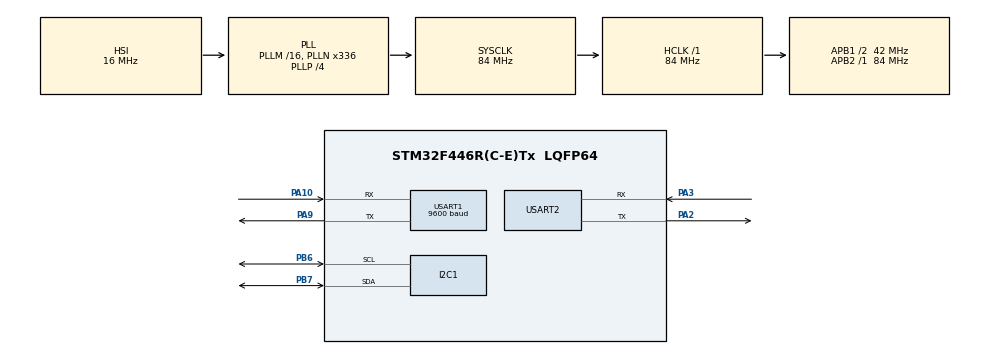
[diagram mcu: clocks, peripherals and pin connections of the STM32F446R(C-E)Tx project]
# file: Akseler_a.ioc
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Dma.I2C1_RX.0.Direction=DMA_PERIPH_TO_MEMORY
Dma.I2C1_RX.0.FIFOMode=DMA_FIFOMODE_ENABLE
Dma.I2C1_RX.0.FIFOThreshold=DMA_FIFO_THRESHOLD_FULL
Dma.I2C1_RX.0.Instance=DMA1_Stream0
Dma.I2C1_RX.0.MemBurst=DMA_MBURST_SINGLE
Dma.I2C1_RX.0.MemDataAlignment=DMA_MDATAALIGN_BYTE
Dma.I2C1_RX.0.MemInc=DMA_MINC_ENABLE
Dma.I2C1_RX.0.Mode=DMA_CIRCULAR
Dma.I2C1_RX.0.PeriphBurst=DMA_PBURST_SINGLE
Dma.I2C1_RX.0.PeriphDataAlignment=DMA_PDATAALIGN_BYTE
Dma.I2C1_RX.0.PeriphInc=DMA_PINC_DISABLE
Dma.I2C1_RX.0.Priority=DMA_PRIORITY_MEDIUM
Dma.Request0=I2C1_RX
Dma.Request1=USART1_RX
Dma.USART1_RX.1.Direction=DMA_PERIPH_TO_MEMORY
Dma.USART1_RX.1.FIFOMode=DMA_FIFOMODE_DISABLE
Dma.USART1_RX.1.Instance=DMA2_Stream2
Dma.USART1_RX.1.MemDataAlignment=DMA_MDATAALIGN_BYTE
Dma.USART1_RX.1.MemInc=DMA_MINC_ENABLE
Dma.USART1_RX.1.Mode=DMA_CIRCULAR
Dma.USART1_RX.1.PeriphDataAlignment=DMA_PDATAALIGN_BYTE
Dma.USART1_RX.1.PeriphInc=DMA_PINC_DISABLE
Dma.USART1_RX.1.Priority=DMA_PRIORITY_LOW
Mcu.Family=STM32F4
Mcu.Name=STM32F446R(C-E)Tx
Mcu.Package=LQFP64
NVIC.DMA1_Stream0_IRQn=true\:0\:0\:false\:false\:true\:false\:true\:true
NVIC.DMA2_Stream2_IRQn=true\:0\:0\:false\:false\:true\:false\:true\:true
NVIC.PriorityGroup=NVIC_PRIORITYGROUP_0
NVIC.USART1_IRQn=true\:0\:0\:false\:false\:true\:true\:true\:true
PA10.Mode=Asynchronous
PA10.Signal=USART1_RX
PA2.Mode=Asynchronous
PA2.Signal=USART2_TX
PA3.Mode=Asynchronous
PA3.Signal=USART2_RX
PA9.Mode=Asynchronous
PA9.Signal=USART1_TX
PB6.Mode=I2C
PB6.Signal=I2C1_SCL
PB7.Mode=I2C
PB7.Signal=I2C1_SDA
PC14-OSC32_IN.Mode=LSE-External-Oscillator
PC14-OSC32_IN.Signal=RCC_OSC32_IN
PC15-OSC32_OUT.Mode=LSE-External-Oscillator
PC15-OSC32_OUT.Signal=RCC_OSC32_OUT
PH0-OSC_IN.Mode=HSE-External-Oscillator
PH0-OSC_IN.Signal=RCC_OSC_IN
PH1-OSC_OUT.Mode=HSE-External-Oscillator
PH1-OSC_OUT.Signal=RCC_OSC_OUT
ProjectManager.HeapSize=0x200
ProjectManager.StackSize=0x400
ProjectManager.TargetToolchain=CMake
RCC.AHBFreq_Value=84000000
RCC.APB1CLKDivider=RCC_HCLK_DIV2
RCC.APB1Freq_Value=42000000
RCC.APB1TimFreq_Value=84000000
RCC.APB2Freq_Value=84000000
RCC.APB2TimFreq_Value=84000000
RCC.CortexFreq_Value=84000000
RCC.FLatency-AdvancedSettings=FLASH_LATENCY_2
RCC.HCLKFreq_Value=84000000
RCC.HSE_VALUE=8000000
RCC.HSI_VALUE=16000000
RCC.PLLN=336
RCC.PLLP=RCC_PLLP_DIV4
RCC.SYSCLKFreq_VALUE=84000000
RCC.SYSCLKSource=RCC_SYSCLKSOURCE_PLLCLK
RCC.USBFreq_Value=168000000
RCC.VCOOutputFreq_Value=336000000
USART1.BaudRate=9600
USART1.VirtualMode=VM_ASYNC
USART2.VirtualMode=VM_ASYNC
board=NUCLEO-F446RE

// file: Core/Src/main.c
/* USER CODE BEGIN Header */
/**
  ******************************************************************************
  * @file           : main.c
  * @brief          : Main program body - 6D Orientation Example for Nucleo-446RE
  ******************************************************************************
  * @attention
  *
  * Copyright (c) 2025 STMicroelectronics.
  * All rights reserved.
  * This software is licensed under the terms found in the LICENSE file
  * in the root directory of this software component.
  * If no LICENSE file comes with this software, it is provided AS-IS.
  *
  ******************************************************************************
  */
/* USER CODE END Header */
#include "main.h"

/* USER CODE BEGIN Includes */
#include "accel.h"
#include "gps.h"
#include "geo.h"
#include "kalman.h"
#include "attitude.h"
#include <stdio.h>
/* USER CODE END Includes */

I2C_HandleTypeDef hi2c1;
DMA_HandleTypeDef hdma_i2c1_rx;

UART_HandleTypeDef huart1;
UART_HandleTypeDef huart2;
DMA_HandleTypeDef hdma_usart1_rx;

/* USER CODE BEGIN PV */
UART_TxQueueTypeDef uart2_tx_queue = { .head = 0, .tail = 0, .is_transmitting = 0 };

/* останній відомий стан GPS для CSV: між fix-ами значення повторюються */
static uint8_t geo_origin_set = 0;
static uint8_t gps_fix = 0;
static float geo_east = 0.0f, geo_north = 0.0f, gps_spd = 0.0f;

/* Кальман: стартує разом з origin (перший fix = точка (0,0) ENU) */
static KalmanFilter kf;
static uint8_t kf_started = 0;
static uint32_t kf_last_fix_tick = 0;
static uint8_t kf_gate = 1; /* результат останнього KF_UpdateGated (1=accepted) */

/* Орієнтація: живе з першого IMU-семпла, dt спільний з KF_Predict */
static AttitudeFilter att;
static uint32_t imu_last_tick = 0;
/* USER CODE END PV */

void SystemClock_Config(void);
static void MX_GPIO_Init(void);
static void MX_DMA_Init(void);
static void MX_USART2_UART_Init(void);
static void MX_I2C1_Init(void);
static void MX_USART1_UART_Init(void);

/* USER CODE BEGIN 0 */
void UART_TxQueue_Init(UART_TxQueueTypeDef *queue) {
    queue->head = 0;
    queue->tail = 0;
    queue->is_transmitting = 0;
}

uint8_t UART_TxQueue_IsFull(UART_TxQueueTypeDef *queue) {
    return ((queue->head + 1) % UART_TX_QUEUE_SIZE) == queue->tail;
}

uint8_t UART_TxQueue_IsEmpty(UART_TxQueueTypeDef *queue) {
    return queue->head == queue->tail;
}

void UART_TxQueue_Enqueue(UART_TxQueueTypeDef *queue, const char *data) {
    if (!UART_TxQueue_IsFull(queue)) {
        strncpy(queue->buffer[queue->head], data, UART_TX_BUFFER_SIZE - 1);
        queue->buffer[queue->head][UART_TX_BUFFER_SIZE - 1] = '\0';
        queue->head = (queue->head + 1) % UART_TX_QUEUE_SIZE;
    }
}

void UART_TxQueue_TransmitNext(UART_HandleTypeDef *huart, UART_TxQueueTypeDef *queue) {
    if (!queue->is_transmitting && !UART_TxQueue_IsEmpty(queue)) {
        queue->is_transmitting = 1;
        HAL_UART_Transmit_IT(huart, (uint8_t*)queue->buffer[queue->tail], strlen(queue->buffer[queue->tail]));
    }
}

void Safe_UART_Transmit(UART_HandleTypeDef *huart, uint8_t *data, uint16_t size) {
    char temp[UART_TX_BUFFER_SIZE];
    strncpy(temp, (char*)data, size);
    temp[size] = '\0';
    UART_TxQueue_Enqueue(&uart2_tx_queue, temp);
    UART_TxQueue_TransmitNext(huart, &uart2_tx_queue);
}

/*
 * Розлипання I2C1-шини (PB6=SCL, PB7=SDA) перед HAL_I2C_Init:
 * якщо slave тримає SDA низько, даємо до 9 імпульсів SCL у GPIO-режимі,
 * щоб він дочитав перерваний байт і відпустив шину, потім формуємо STOP.
 * Викликати ДО HAL_I2C_Init: MspInit потім сам поверне піни в режим AF I2C.
 */
static void I2C1_BusRecover(void) {
    GPIO_InitTypeDef gpio = {0};
    const char *result;

    __HAL_RCC_GPIOB_CLK_ENABLE();

    /* SDA (PB7) — вхід: перевіряємо, чи шина взагалі залипла */
    gpio.Pin = GPIO_PIN_7;
    gpio.Mode = GPIO_MODE_INPUT;
    gpio.Pull = GPIO_PULLUP;
    HAL_GPIO_Init(GPIOB, &gpio);

    if (HAL_GPIO_ReadPin(GPIOB, GPIO_PIN_7) == GPIO_PIN_SET) {
        result = "I2C bus free\r\n";
    } else {
        /* SCL (PB6) — open-drain вихід, тактуємо вручну */
        gpio.Pin = GPIO_PIN_6;
        gpio.Mode = GPIO_MODE_OUTPUT_OD;
        gpio.Pull = GPIO_PULLUP;
        gpio.Speed = GPIO_SPEED_FREQ_LOW;
        HAL_GPIO_Init(GPIOB, &gpio);
        HAL_GPIO_WritePin(GPIOB, GPIO_PIN_6, GPIO_PIN_SET);
        HAL_Delay(1);

        for (int i = 0; i < 9 && HAL_GPIO_ReadPin(GPIOB, GPIO_PIN_7) == GPIO_PIN_RESET; i++) {
            HAL_GPIO_WritePin(GPIOB, GPIO_PIN_6, GPIO_PIN_RESET);
            HAL_Delay(1);
            HAL_GPIO_WritePin(GPIOB, GPIO_PIN_6, GPIO_PIN_SET);
            HAL_Delay(1);
        }

        /* STOP condition: SDA тягнемо вниз і відпускаємо при високому SCL */
        gpio.Pin = GPIO_PIN_7;
        gpio.Mode = GPIO_MODE_OUTPUT_OD;
        HAL_GPIO_Init(GPIOB, &gpio);
        HAL_GPIO_WritePin(GPIOB, GPIO_PIN_7, GPIO_PIN_RESET);
        HAL_Delay(1);
        HAL_GPIO_WritePin(GPIOB, GPIO_PIN_7, GPIO_PIN_SET);
        HAL_Delay(1);

        /* SDA знову вхід — перевіряємо результат */
        gpio.Pin = GPIO_PIN_7;
        gpio.Mode = GPIO_MODE_INPUT;
        HAL_GPIO_Init(GPIOB, &gpio);
        result = (HAL_GPIO_ReadPin(GPIOB, GPIO_PIN_7) == GPIO_PIN_SET)
                     ? "I2C bus recovered\r\n"
                     : "I2C bus stuck\r\n";
    }

    HAL_GPIO_DeInit(GPIOB, GPIO_PIN_6 | GPIO_PIN_7);
    HAL_UART_Transmit(&huart2, (uint8_t*)result, (uint16_t)strlen(result), 100);
}
/* USER CODE END 0 */

int main(void)
{

  /* MCU Configuration--------------------------------------------------------*/

  /* Reset of all peripherals, Initializes the Flash interface and the Systick. */
  HAL_Init();

  /* Configure the system clock */
  SystemClock_Config();

  /* Initialize all configured peripherals */
  MX_GPIO_Init();
  MX_DMA_Init();
  MX_USART2_UART_Init();
  MX_I2C1_Init();
  MX_USART1_UART_Init();
  /* USER CODE BEGIN 2 */
  ACCEL_Init(&hi2c1);
  GPS_Init(&huart1);

  /* даємо IT-черзі дослати стартові повідомлення, інакше блокуючий
     вивід заголовка отримає HAL_BUSY і рядок загубиться */
  uint32_t hdr_t0 = HAL_GetTick();
  while (!UART_TxQueue_IsEmpty(&uart2_tx_queue) && (HAL_GetTick() - hdr_t0) < 500) {}
  const char csv_hdr[] = "t_ms,ax,ay,az,gx,gy,gz,fix,east,north,spd,kf_east,kf_north,kf_vE,kf_vN,gate,roll,pitch,yaw\r\n";
  HAL_UART_Transmit(&huart2, (uint8_t*)csv_hdr, sizeof(csv_hdr) - 1, 100);
  ATT_Init(&att);
  imu_last_tick = HAL_GetTick();
  /* USER CODE END 2 */

  /* Infinite loop */
  /* USER CODE BEGIN WHILE */
  while (1)
  {
    if (ACCEL_Read()) {
      /* Орієнтація оновлюється кожним IMU-семплом; той самий dt іде в predict,
         який тепер отримує реальні горизонтальні прискорення замість нулів */
      uint32_t now = HAL_GetTick();
      float dt = (float)(now - imu_last_tick) / 1000.0f;
      imu_last_tick = now;
      if (dt > 0.0f && dt < 0.5f) {
        ATT_Update(&att, accel_x, accel_y, accel_z, gyro_x, gyro_y, gyro_z, dt);
        if (kf_started) {
          float aE, aN;
          ATT_BodyToENU(&att, accel_x, accel_y, accel_z, &aE, &aN);
          KF_Predict(&kf, dt, aE, aN);
        }
      }

      GPS_RMCData rmc;
      if (GPS_GetRMC(&rmc)) {
        gps_fix = rmc.valid ? 1 : 0;
        if (rmc.valid) {
          if (!geo_origin_set) {
            GEO_SetOrigin(rmc.lat, rmc.lon);
            geo_origin_set = 1;
            KF_Init(&kf, 0.3f, 1.5f); /* origin = (0,0) ENU = старт фільтра */
            kf_started = 1;
            kf_last_fix_tick = HAL_GetTick();
            char msg[64];
            int mlen = snprintf(msg, sizeof(msg), "ORIGIN SET lat=%.5f lon=%.5f\r\n", rmc.lat, rmc.lon);
            HAL_UART_Transmit(&huart2, (uint8_t*)msg, (uint16_t)mlen, 100);
          }
          GEO_ToENU(rmc.lat, rmc.lon, &geo_east, &geo_north);
          gps_spd = rmc.speed_mps;
          uint32_t fix_now = HAL_GetTick();
          float dt_fix = (float)(fix_now - kf_last_fix_tick) / 1000.0f;
          kf_last_fix_tick = fix_now;
          kf_gate = (uint8_t)KF_UpdateGated(&kf, geo_east, geo_north, dt_fix, rmc.speed_mps);
          ATT_CorrectYawFromCourse(&att, rmc.course_deg, rmc.speed_mps);
        }
      }

      char csv[160];
      int len = snprintf(csv, sizeof(csv), "%lu,%.3f,%.3f,%.3f,%.4f,%.4f,%.4f,%u,%.2f,%.2f,%.2f",
                         HAL_GetTick(), accel_x, accel_y, accel_z, gyro_x, gyro_y, gyro_z,
                         gps_fix, geo_east, geo_north, gps_spd);
      if (kf_started) {
        float pE, pN, vE, vN;
        KF_GetPosition(&kf, &pE, &pN);
        KF_GetVelocity(&kf, &vE, &vN);
        len += snprintf(csv + len, sizeof(csv) - (size_t)len, ",%.3f,%.3f,%.3f,%.3f,%u",
                        pE, pN, vE, vN, kf_gate);
      } else {
        len += snprintf(csv + len, sizeof(csv) - (size_t)len, ",,,,,"); /* фільтр ще не стартував */
      }
      len += snprintf(csv + len, sizeof(csv) - (size_t)len, ",%.2f,%.2f,%.2f\r\n",
                      att.roll * 57.29578f, att.pitch * 57.29578f, att.yaw * 57.29578f);
      HAL_UART_Transmit(&huart2, (uint8_t*)csv, (uint16_t)len, 100);
    }
    HAL_Delay(100);
    /* USER CODE END WHILE */

  }
}

void SystemClock_Config(void)
{
  RCC_OscInitTypeDef RCC_OscInitStruct = {0};
  RCC_ClkInitTypeDef RCC_ClkInitStruct = {0};

  /** Configure the main internal regulator output voltage
  */
  __HAL_RCC_PWR_CLK_ENABLE();
  __HAL_PWR_VOLTAGESCALING_CONFIG(PWR_REGULATOR_VOLTAGE_SCALE3);

  /** Initializes the RCC Oscillators according to the specified parameters
  * in the RCC_OscInitTypeDef structure.
  */
  RCC_OscInitStruct.OscillatorType = RCC_OSCILLATORTYPE_HSI;
  RCC_OscInitStruct.HSIState = RCC_HSI_ON;
  RCC_OscInitStruct.HSICalibrationValue = RCC_HSICALIBRATION_DEFAULT;
  RCC_OscInitStruct.PLL.PLLState = RCC_PLL_ON;
  RCC_OscInitStruct.PLL.PLLSource = RCC_PLLSOURCE_HSI;
  RCC_OscInitStruct.PLL.PLLM = 16;
  RCC_OscInitStruct.PLL.PLLN = 336;
  RCC_OscInitStruct.PLL.PLLP = RCC_PLLP_DIV4;
  RCC_OscInitStruct.PLL.PLLQ = 2;
  RCC_OscInitStruct.PLL.PLLR = 2;
  if (HAL_RCC_OscConfig(&RCC_OscInitStruct) != HAL_OK)
  {
    Error_Handler();
  }

  /** Initializes the CPU, AHB and APB buses clocks
  */
  RCC_ClkInitStruct.ClockType = RCC_CLOCKTYPE_HCLK|RCC_CLOCKTYPE_SYSCLK
                              |RCC_CLOCKTYPE_PCLK1|RCC_CLOCKTYPE_PCLK2;
  RCC_ClkInitStruct.SYSCLKSource = RCC_SYSCLKSOURCE_PLLCLK;
  RCC_ClkInitStruct.AHBCLKDivider = RCC_SYSCLK_DIV1;
  RCC_ClkInitStruct.APB1CLKDivider = RCC_HCLK_DIV2;
  RCC_ClkInitStruct.APB2CLKDivider = RCC_HCLK_DIV1;

  if (HAL_RCC_ClockConfig(&RCC_ClkInitStruct, FLASH_LATENCY_2) != HAL_OK)
  {
    Error_Handler();
  }
}

static void MX_I2C1_Init(void)
{

  /* USER CODE BEGIN I2C1_Init 0 */
  I2C1_BusRecover(); /* розлипання шини до HAL_I2C_Init (USART2 вже готовий для логу) */
  /* USER CODE END I2C1_Init 0 */

  hi2c1.Instance = I2C1;
  hi2c1.Init.ClockSpeed = 100000;
  hi2c1.Init.DutyCycle = I2C_DUTYCYCLE_2;
  hi2c1.Init.OwnAddress1 = 0;
  hi2c1.Init.AddressingMode = I2C_ADDRESSINGMODE_7BIT;
  hi2c1.Init.DualAddressMode = I2C_DUALADDRESS_DISABLE;
  hi2c1.Init.OwnAddress2 = 0;
  hi2c1.Init.GeneralCallMode = I2C_GENERALCALL_DISABLE;
  hi2c1.Init.NoStretchMode = I2C_NOSTRETCH_DISABLE;
  if (HAL_I2C_Init(&hi2c1) != HAL_OK)
  {
    Error_Handler();
  }

}

static void MX_USART1_UART_Init(void)
{

  huart1.Instance = USART1;
  huart1.Init.BaudRate = 9600;
  huart1.Init.WordLength = UART_WORDLENGTH_8B;
  huart1.Init.StopBits = UART_STOPBITS_1;
  huart1.Init.Parity = UART_PARITY_NONE;
  huart1.Init.Mode = UART_MODE_TX_RX;
  huart1.Init.HwFlowCtl = UART_HWCONTROL_NONE;
  huart1.Init.OverSampling = UART_OVERSAMPLING_16;
  if (HAL_UART_Init(&huart1) != HAL_OK)
  {
    Error_Handler();
  }

}

static void MX_USART2_UART_Init(void)
{

  huart2.Instance = USART2;
  huart2.Init.BaudRate = 115200;
  huart2.Init.WordLength = UART_WORDLENGTH_8B;
  huart2.Init.StopBits = UART_STOPBITS_1;
  huart2.Init.Parity = UART_PARITY_NONE;
  huart2.Init.Mode = UART_MODE_TX_RX;
  huart2.Init.HwFlowCtl = UART_HWCONTROL_NONE;
  huart2.Init.OverSampling = UART_OVERSAMPLING_16;
  if (HAL_UART_Init(&huart2) != HAL_OK)
  {
    Error_Handler();
  }

}

static void MX_DMA_Init(void)
{

  /* DMA controller clock enable */
  __HAL_RCC_DMA1_CLK_ENABLE();
  __HAL_RCC_DMA2_CLK_ENABLE();

  /* DMA interrupt init */
  /* DMA1_Stream0_IRQn interrupt configuration */
  HAL_NVIC_SetPriority(DMA1_Stream0_IRQn, 0, 0);
  HAL_NVIC_EnableIRQ(DMA1_Stream0_IRQn);
  /* DMA2_Stream2_IRQn interrupt configuration */
  HAL_NVIC_SetPriority(DMA2_Stream2_IRQn, 0, 0);
  HAL_NVIC_EnableIRQ(DMA2_Stream2_IRQn);

}

static void MX_GPIO_Init(void)
{

  /* GPIO Ports Clock Enable */
  __HAL_RCC_GPIOC_CLK_ENABLE();
  __HAL_RCC_GPIOH_CLK_ENABLE();
  __HAL_RCC_GPIOA_CLK_ENABLE();
  __HAL_RCC_GPIOB_CLK_ENABLE();

}

/* USER CODE BEGIN 4 */
void HAL_UARTEx_RxEventCallback(UART_HandleTypeDef *huart, uint16_t Size)
{
  GPS_UART_RxEventCallback(huart, Size);
}

void HAL_UART_ErrorCallback(UART_HandleTypeDef *huart)
{
  GPS_UART_ErrorCallback(huart);
}

/* Просуває чергу uart2_tx_queue після завершення IT-передачі —
   без цього колбека is_transmitting ніколи не скидається і черга стає */
void HAL_UART_TxCpltCallback(UART_HandleTypeDef *huart)
{
  if (huart->Instance == USART2) {
    uart2_tx_queue.tail = (uart2_tx_queue.tail + 1) % UART_TX_QUEUE_SIZE;
    uart2_tx_queue.is_transmitting = 0;
    UART_TxQueue_TransmitNext(huart, &uart2_tx_queue);
  }
}
/* USER CODE END 4 */

void Error_Handler(void)
{
  __disable_irq();
  while (1)
  {
  }
}
